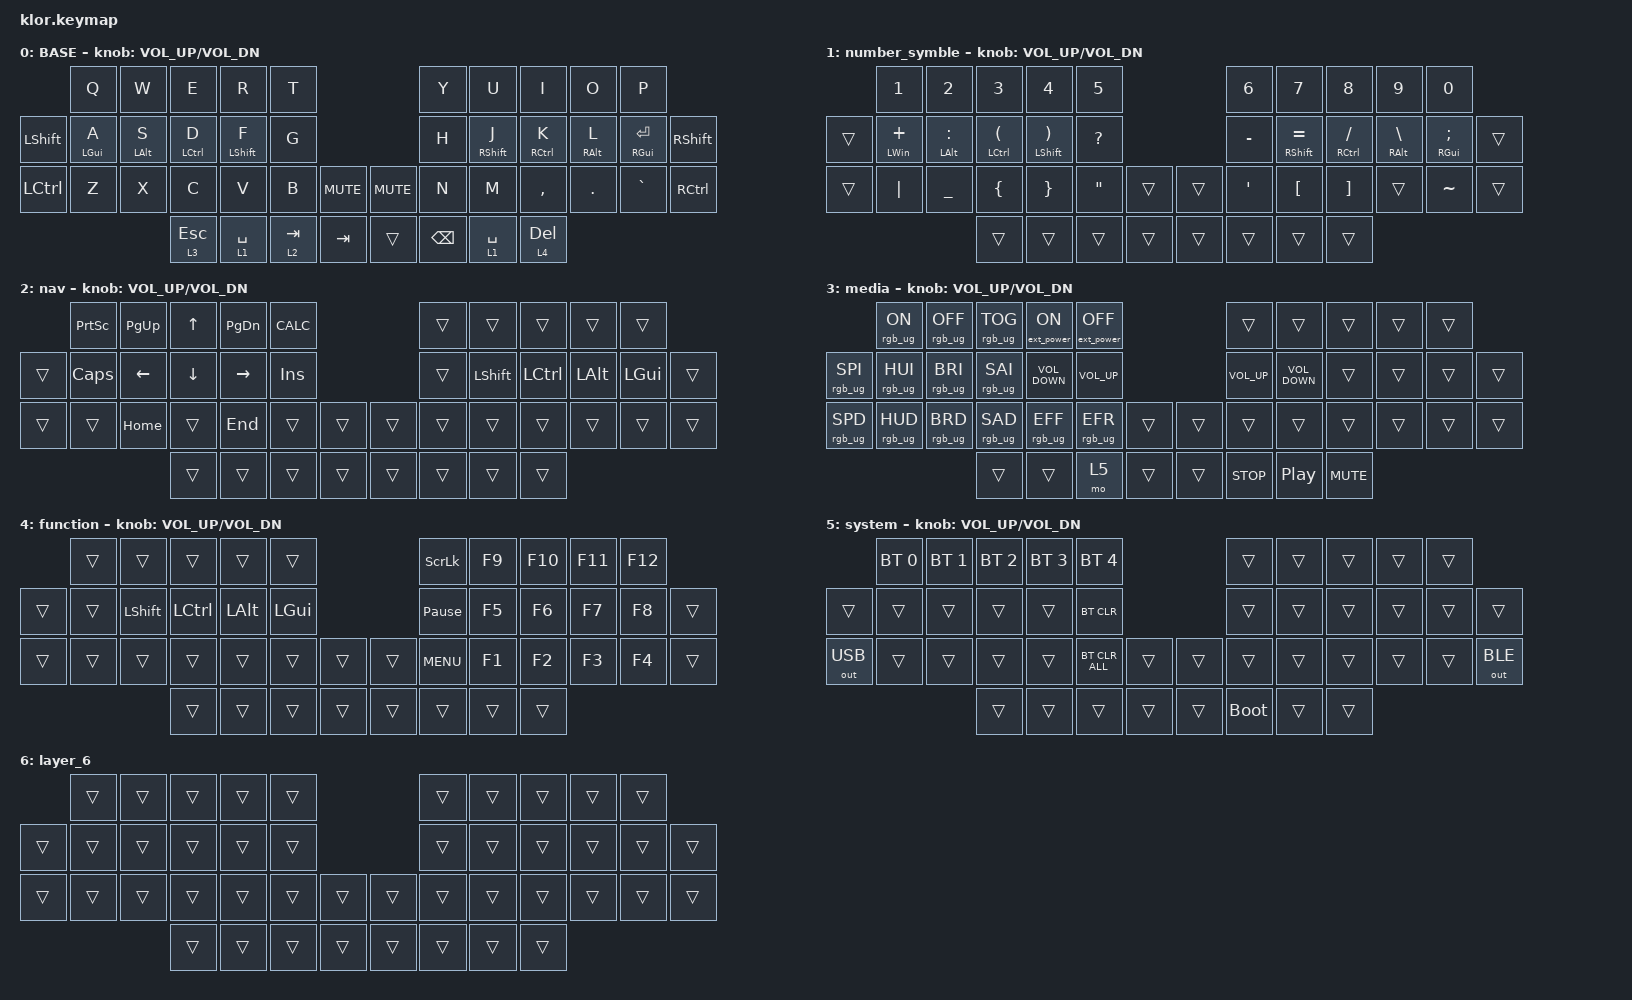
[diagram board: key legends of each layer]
#include <behaviors.dtsi>
#include <dt-bindings/zmk/bt.h>
#include <dt-bindings/zmk/ext_power.h>
#include <dt-bindings/zmk/keys.h>
#include <dt-bindings/zmk/outputs.h>
#include <dt-bindings/zmk/rgb.h>

#define BASE 0
#define NAV  1
#define SYM  2
#define ADJ  3
#define TVP1 4
#define TVP2 5

&mt {
    flavor = "tap-preferred";
    tapping-term-ms = <150>;
};

&lt {
    flavor = "tap-preferred";
    tapping-term-ms = <150>;
};

&caps_word {
};

/ {
    behaviors {
        lh_pht: home_row_left_mod_tap {
            compatible = "zmk,behavior-hold-tap";
            #binding-cells = <2>;
            flavor = "balanced";
            tapping-term-ms = <150>;
            bindings = <&kp>, <&kp>;

            hold-trigger-key-positions = <5 6 7 8 9 16 17 18 19 20 21 29 30 31 32 33 34 35 40 41 42 43>;
            require-prior-idle-ms = <125>;
            quick-tap-ms = <200>;
        };

        rh_pht: home_row_right_mod_tap {
            compatible = "zmk,behavior-hold-tap";
            #binding-cells = <2>;
            flavor = "balanced";
            tapping-term-ms = <150>;
            bindings = <&kp>, <&kp>;

            hold-trigger-key-positions = <0 1 2 3 4 10 11 12 13 14 15 22 23 24 25 26 27 28 36 37 38 39>;
            quick-tap-ms = <200>;
            require-prior-idle-ms = <125>;
        };
    };

    combos {
        compatible = "zmk,combos";

        caps_word {
            bindings = <&caps_word>;
            key-positions = <14 17>;
        };
    };

    keymap {
        compatible = "zmk,keymap";

        base_layer {
            label = "BASE";
            bindings = <
                &kp Q           &kp W           &kp E            &kp R            &kp T                              &kp Y          &kp U            &kp I            &kp O           &kp P
&kp LEFT_SHIFT  &lh_pht LGUI A  &lh_pht LALT S  &lh_pht LCTRL D  &lh_pht LSHFT F  &kp G                              &kp H          &rh_pht RSHFT J  &rh_pht RCTRL K  &rh_pht RALT L  &rh_pht RGUI ENTER  &kp RIGHT_SHIFT
&kp LCTRL       &kp Z           &kp X           &kp C            &kp V            &kp B      &kp C_MUTE  &kp C_MUTE  &kp N          &kp M            &kp COMMA        &kp DOT         &kp GRAVE           &kp RCTRL
                                                &lt 3 ESCAPE     &lt 1 SPACE      &lt 2 TAB  &kp TAB     &trans      &kp BACKSPACE  &lt 1 SPACE      &lt 4 DELETE
            >;

            sensor-bindings = <&inc_dec_kp C_VOL_UP C_VOL_DN>;
        };

        number_symble {
            bindings = <
        &kp NUMBER_1       &kp NUMBER_2        &kp NUMBER_3                    &kp NUMBER_4                          &kp NUMBER_5                       &kp NUMBER_6      &kp NUMBER_7         &kp NUMBER_8         &kp NUMBER_9            &kp NUMBER_0
&trans  &lh_pht LWIN PLUS  &lh_pht LALT COLON  &lh_pht LCTRL LEFT_PARENTHESIS  &lh_pht LEFT_SHIFT RIGHT_PARENTHESIS  &kp QUESTION                       &kp MINUS         &rh_pht RSHFT EQUAL  &rh_pht RCTRL SLASH  &rh_pht RALT BACKSLASH  &rh_pht RGUI SEMICOLON  &trans
&trans  &kp PIPE           &kp UNDERSCORE      &kp LEFT_BRACE                  &kp RIGHT_BRACE                       &kp DOUBLE_QUOTES  &trans  &trans  &kp SINGLE_QUOTE  &kp LEFT_BRACKET     &kp RIGHT_BRACKET    &trans                  &kp TILDE               &trans
                                               &trans                          &trans                                &trans             &trans  &trans  &trans            &trans               &trans
            >;

            sensor-bindings = <&inc_dec_kp C_VOL_UP C_VOL_DN>;
        };

        nav {
            bindings = <
        &kp PRINTSCREEN  &kp PG_UP  &kp UP    &kp PG_DN  &kp K_CALC                  &trans  &trans     &trans     &trans    &trans
&trans  &kp CAPSLOCK     &kp LEFT   &kp DOWN  &kp RIGHT  &kp INSERT                  &trans  &kp LSHFT  &kp LCTRL  &kp LALT  &kp LGUI  &trans
&trans  &trans           &kp HOME   &trans    &kp END    &trans      &trans  &trans  &trans  &trans     &trans     &trans    &trans    &trans
                                    &trans    &trans     &trans      &trans  &trans  &trans  &trans     &trans
            >;

            sensor-bindings = <&inc_dec_kp C_VOL_UP C_VOL_DN>;
        };

        media {
            bindings = <
                 &rgb_ug RGB_ON   &rgb_ug RGB_OFF  &rgb_ug RGB_TOG  &ext_power EP_ON   &ext_power EP_OFF                  &trans           &trans             &trans      &trans  &trans
&rgb_ug RGB_SPI  &rgb_ug RGB_HUI  &rgb_ug RGB_BRI  &rgb_ug RGB_SAI  &kp C_VOLUME_DOWN  &kp C_VOLUME_UP                    &kp C_VOLUME_UP  &kp C_VOLUME_DOWN  &trans      &trans  &trans  &trans
&rgb_ug RGB_SPD  &rgb_ug RGB_HUD  &rgb_ug RGB_BRD  &rgb_ug RGB_SAD  &rgb_ug RGB_EFF    &rgb_ug RGB_EFR    &trans  &trans  &trans           &trans             &trans      &trans  &trans  &trans
                                                   &trans           &trans             &mo 5              &trans  &trans  &kp C_STOP       &kp C_PLAY_PAUSE   &kp K_MUTE
            >;

            sensor-bindings = <&inc_dec_kp C_VOL_UP C_VOL_DN>;
        };

        function {
            bindings = <
        &trans  &trans     &trans     &trans    &trans                    &kp SCROLLLOCK   &kp F9  &kp F10  &kp F11  &kp F12
&trans  &trans  &kp LSHFT  &kp LCTRL  &kp LALT  &kp LGUI                  &kp PAUSE_BREAK  &kp F5  &kp F6   &kp F7   &kp F8   &trans
&trans  &trans  &trans     &trans     &trans    &trans    &trans  &trans  &kp C_MENU       &kp F1  &kp F2   &kp F3   &kp F4   &trans
                           &trans     &trans    &trans    &trans  &trans  &trans           &trans  &trans
            >;

            sensor-bindings = <&inc_dec_kp C_VOL_UP C_VOL_DN>;
        };

        system {
            bindings = <
              &bt BT_SEL 0  &bt BT_SEL 1  &bt BT_SEL 2  &bt BT_SEL 3  &bt BT_SEL 4                    &trans       &trans  &trans  &trans  &trans
&trans        &trans        &trans        &trans        &trans        &bt BT_CLR                      &trans       &trans  &trans  &trans  &trans  &trans
&out OUT_USB  &trans        &trans        &trans        &trans        &bt BT_CLR_ALL  &trans  &trans  &trans       &trans  &trans  &trans  &trans  &out OUT_BLE
                                          &trans        &trans        &trans          &trans  &trans  &bootloader  &trans  &trans
            >;

            sensor-bindings = <&inc_dec_kp C_VOL_UP C_VOL_DN>;
        };

        layer_6 {
            bindings = <
        &trans  &trans  &trans  &trans  &trans                  &trans  &trans  &trans  &trans  &trans
&trans  &trans  &trans  &trans  &trans  &trans                  &trans  &trans  &trans  &trans  &trans  &trans
&trans  &trans  &trans  &trans  &trans  &trans  &trans  &trans  &trans  &trans  &trans  &trans  &trans  &trans
                        &trans  &trans  &trans  &trans  &trans  &trans  &trans  &trans
            >;
        };
    };
};
